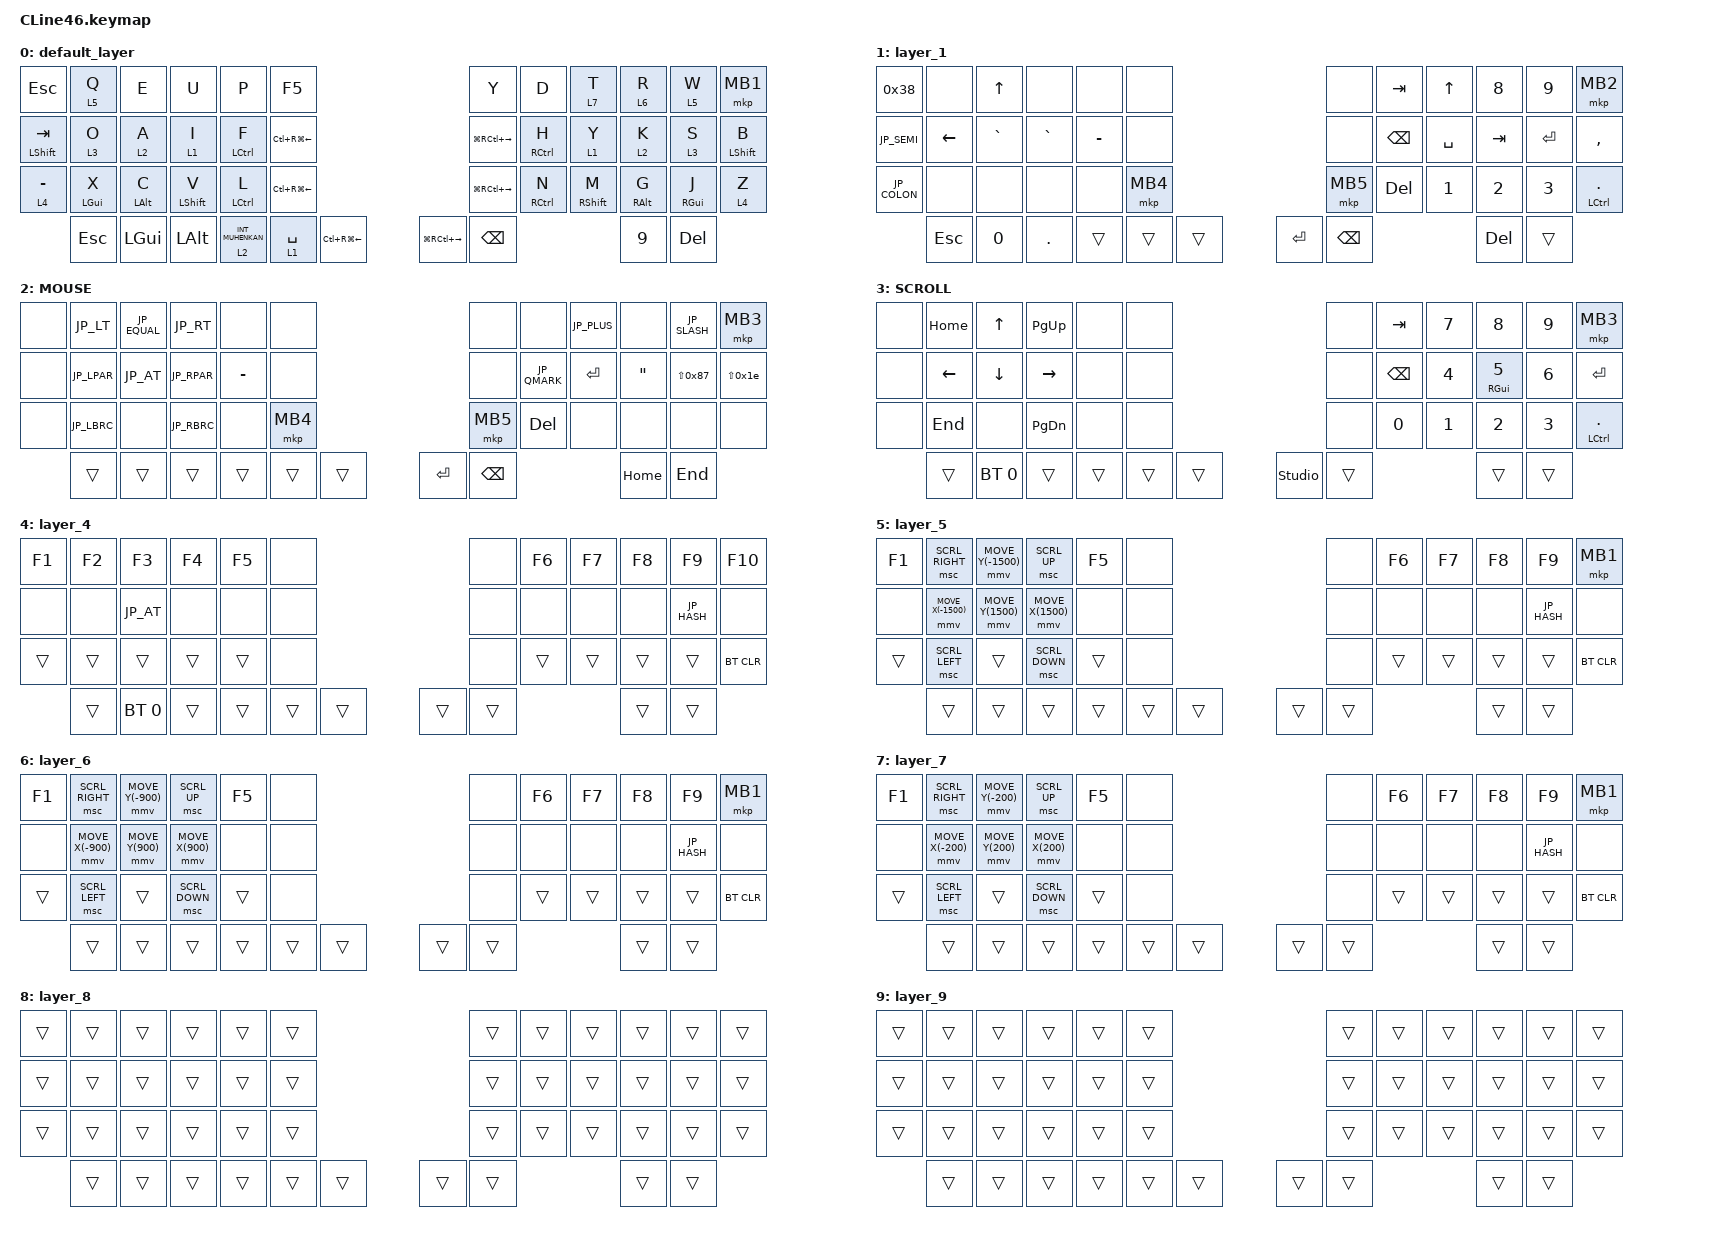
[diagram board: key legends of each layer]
#include <input/processors.dtsi>
#include <dt-bindings/zmk/input_transform.h>
#include <zephyr/dt-bindings/input/input-event-codes.h>
#include <behaviors.dtsi>
#include <dt-bindings/zmk/bt.h>
#include <dt-bindings/zmk/keys.h>
#include <dt-bindings/zmk/pointing.h>

#include "keycode_japanese.h"


&msc {
    acceleration-exponent = <0>;      // 0
    time-to-max-speed-ms = <0>;       // 300
    delay-ms = <0>;                   // 0
};

&mmv {
    time-to-max-speed-ms = <0>;
    acceleration-exponent = <0>;
    trigger-period-ms = <10>;
    delay-ms = <0>;
};

&mt { 
    flavor = "balanced"; 
    tapping-term-ms = <200>;
    quick-tap-ms = <150>; 
};

&lt {
    flavor = "balanced";
    tapping-term-ms = <200>; 
    quick-tap-ms = <150>; 
};





    // 0  1  2  3  4  5         6  7  8  9  10 11
    // 12 13 14 15 16 17        18 19 20 21 22 23
    // 24 25 26 27 28 29        30 31 32 33 34 35
    //    36 37 38 39 40 41  42 43       44 45




/ {
    combos {
        compatible = "zmk,combos";


     hankaku {
            bindings = <&kp GRAVE>;
            key-positions = <1 3>;
            layers = <0>;
            timeout-ms = <200>;
        };

       hankaku-2 {
            bindings = <&kp GRAVE>;
            key-positions = <16 19>;
            layers = <0>;
            timeout-ms = <300>;
        };

        fopen {
            bindings = <&kp LG(N2)>;
            key-positions = <7 11>;
            layers = <0>;
            timeout-ms = <200>;
        };

       bootloader {
            bindings = <&bootloader>;
            key-positions = <0 5 24 29>;
            timeout-ms = <200>;
        };



       bootloader_r {
            bindings = <&bootloader>;
            key-positions = <6 11 30 35>;
            timeout-ms = <200>;
        };


        btcl {
            bindings = <&bt BT_CLR_ALL>;
            key-positions = <0 12 24>;
            layers = <0>;
        };

        bt0 {
            bindings = <&bt BT_SEL 0>;
            key-positions = <6 18 30>;
            layers = <0>;
        };

        bt1 {
            bindings = <&bt BT_SEL 1>;
            key-positions = <7 19 31>;
            layers = <0>;
        };

        bt2 {
            bindings = <&bt BT_SEL 2>;
            key-positions = <8 20 32>;
            layers = <0>;
        };

        mute {
            bindings = <&kp C_MUTE>;
            key-positions = <15 16>;
            layers = <0>;
        };

        vup {
            bindings = <&kp C_VOL_UP>;
            key-positions = <3 4>;
            layers = <0>;
        };

        vdn {
            bindings = <&kp C_VOL_DN>;
            key-positions = <27 28>;
            layers = <0>;
        };

    };

    macros {
        to_layer_0: to_layer_0 {
            compatible = "zmk,behavior-macro-one-param";
            #binding-cells = <1>;
            bindings = <&to 0 &macro_param_1to1 &kp MACRO_PLACEHOLDER>;
            label = "TO_LAYER_0";
        };
    };

    behaviors {
        lt_to_layer_0: lt_to_layer_0 {
            compatible = "zmk,behavior-hold-tap";
            label = "LAYER_TAP_TO_0";
            bindings = <&mo>, <&to_layer_0>;

            #binding-cells = <2>;
            tapping-term-ms = <200>;
        };
    };

    keymap {
        compatible = "zmk,keymap";

        default_layer {
            bindings = <
&kp ESCAPE          &lt 5 Q        &kp E      &kp U         &kp P                  &kp F5                                            &kp Y    &kp D        &lt 7 T         &lt 6 R       &lt 5 W       &mkp MB1
&mt LSHIFT TAB      &lt 3 O        &lt 2 A      &lt 1 I         &mt LCTRL F       &kp LC(RG(LEFT))        &kp LG(RC(RIGHT))                      &mt RCTRL H  &lt 1 Y         &lt 2 K       &lt 3 S       &mt LEFT_SHIFT B
&lt 4 MINUS    &mt LGUI X   &mt LALT C &mt LSHIFT V  &mt LCTRL L       &kp LC(RG(LEFT))        &kp LG(RC(RIGHT))    &mt RCTRL N        &mt RSHIFT M  &mt RALT G  &mt RGUI J  &lt 4 Z

                 &kp ESC   &kp LGUI   &kp LALT  &lt 2 INT_MUHENKAN   &lt 1 SPACE   &kp LC(RG(LEFT))               &kp LG(RC(RIGHT))   &kp BSPC                      &kp NUMBER_9   &kp DEL  
            >;
        };

        
        layer_1 {
            bindings = <
&kp 0x38     &none      &kp UP     &none       &none           &none       &none                                 &kp TAB          &kp UP          &kp N8        &kp N9         &mkp MB2
&kp JP_SEMI  &kp LEFT   &kp GRAVE  &kp GRAVE   &kp MINUS        &none       &none                      &kp BACKSPACE  &kp SPACE       &kp TAB       &kp ENTER      &kp COMMA 
&kp JP_COLON &none      &none      &none       &none       &mkp MB4  &mkp MB5   &kp DELETE     &kp N1          &kp N2        &kp N3         &mt LCTRL PERIOD
            &kp ESC        &kp NUMBER_0   &kp DOT        &trans         &trans           &trans      &kp RET   &kp BSPC                                                            &kp DEL     &trans 
            >;
        };


        MOUSE {
            bindings = <
&none        &kp JP_LT      &kp JP_EQUAL   &kp JP_RT  &none                 &none       &none                          &none          &kp JP_PLUS     &none        &kp JP_SLASH  &mkp MB3
&none        &kp JP_LPAR    &kp JP_AT      &kp JP_RPAR   &kp MINUS           &none       &none                         &kp JP_QMARK   &kp ENTER  &kp DOUBLE_QUOTES &kp LS(0x87)  &kp LS(0x1e)
&none        &kp JP_LBRC    &none          &kp JP_RBRC   &none   &mkp MB4   &mkp MB5   &kp DELETE          &none           &none         &none         &none
         &trans   &trans   &trans   &trans   &trans    &trans      &kp RET   &kp BSPC                                      &kp HOME          &kp END
            >;
        };


        SCROLL {
            bindings = <
&none        &kp HOME   &kp UP     &kp PAGE_UP      &none   &none   &none                              &kp TAB          &kp N7          &kp N8        &kp N9         &mkp MB3
&none        &kp LEFT   &kp DOWN   &kp RIGHT        &none   &none   &none                              &kp BACKSPACE  &kp N4          &mt RGUI N5        &kp N6         &kp ENTER
&none        &kp END    &none      &kp PAGE_DOWN    &none   &none   &none   &kp N0         &kp N1          &kp N2        &kp N3         &mt LCTRL PERIOD
                 &trans   &bt BT_SEL 0   &trans         &trans         &trans   &trans      &studio_unlock   &trans                     &trans   &trans  
            >;
        };


        layer_4 {
            bindings = <
	&kp F1  &kp F2  &kp F3  &kp F4  &kp F5     &none  &none              &kp F6  &kp F7  &kp F8  &kp F9  &kp F10
&none   &none   &kp JP_AT   &none   &none       &none  &none             &none   &none   &none   &kp JP_HASH   &none
&trans  &trans  &trans  &trans  &trans         &none  &none    &trans        &trans        &trans        &trans        &bt BT_CLR
         &trans   &bt BT_SEL 0   &trans         &trans         &trans   &trans      &trans   &trans                     &trans   &trans 
            >;
        };


        layer_5 {
            bindings = <
&kp F1  &msc SCRL_RIGHT   &mmv MOVE_Y(-1500)     &msc SCRL_UP  &kp F5      &none  &none              &kp F6  &kp F7  &kp F8  &kp F9  &mkp MB1
&none      &mmv MOVE_X(-1500) &mmv MOVE_Y(1500)    &mmv MOVE_X(1500)    &none      &none  &none                &none   &none   &none   &kp JP_HASH   &none
&trans  &msc SCRL_LEFT   &trans           &msc SCRL_DOWN  &trans           &none  &none                           &trans        &trans        &trans        &trans        &bt BT_CLR
         &trans   &trans   &trans   &trans   &trans   &trans      &trans   &trans                     &trans   &trans       
            >;
        };


        layer_6 {
            bindings = <
&kp F1  &msc SCRL_RIGHT   &mmv MOVE_Y(-900)     &msc SCRL_UP  &kp F5         &none  &none          &kp F6  &kp F7  &kp F8  &kp F9  &mkp MB1
&none      &mmv MOVE_X(-900) &mmv MOVE_Y(900)    &mmv MOVE_X(900)    &none   &none  &none                  &none   &none   &none   &kp JP_HASH   &none
&trans  &msc SCRL_LEFT   &trans           &msc SCRL_DOWN  &trans             &none  &none                         &trans        &trans        &trans        &trans        &bt BT_CLR
         &trans   &trans   &trans   &trans   &trans   &trans      &trans   &trans                     &trans   &trans 
            >;
        };

        layer_7 {
            bindings = <
&kp F1  &msc SCRL_RIGHT   &mmv MOVE_Y(-200)     &msc SCRL_UP  &kp F5     &none  &none              &kp F6  &kp F7  &kp F8  &kp F9  &mkp MB1
&none      &mmv MOVE_X(-200) &mmv MOVE_Y(200)    &mmv MOVE_X(200)    &none     &none  &none                &none   &none   &none   &kp JP_HASH   &none
&trans  &msc SCRL_LEFT   &trans           &msc SCRL_DOWN  &trans               &none  &none                       &trans        &trans        &trans        &trans        &bt BT_CLR

         &trans   &trans   &trans   &trans   &trans   &trans      &trans   &trans                     &trans   &trans 
            >;
        };

        layer_8 {
            bindings = <
&trans   &trans   &trans   &trans   &trans   &trans                        &trans   &trans   &trans   &trans   &trans   &trans
&trans   &trans   &trans   &trans   &trans   &trans                        &trans   &trans   &trans   &trans   &trans   &trans
&trans   &trans   &trans   &trans   &trans   &trans                        &trans   &trans   &trans   &trans   &trans   &trans
         &trans   &trans   &trans   &trans   &trans   &trans      &trans   &trans                     &trans   &trans 
            >;
        };

        layer_9 {
            bindings = <
&trans   &trans   &trans   &trans   &trans   &trans                        &trans   &trans   &trans   &trans   &trans   &trans
&trans   &trans   &trans   &trans   &trans   &trans                        &trans   &trans   &trans   &trans   &trans   &trans
&trans   &trans   &trans   &trans   &trans   &trans                        &trans   &trans   &trans   &trans   &trans   &trans
         &trans   &trans   &trans   &trans   &trans   &trans      &trans   &trans                     &trans   &trans 
            >;
        };

















    };
};
